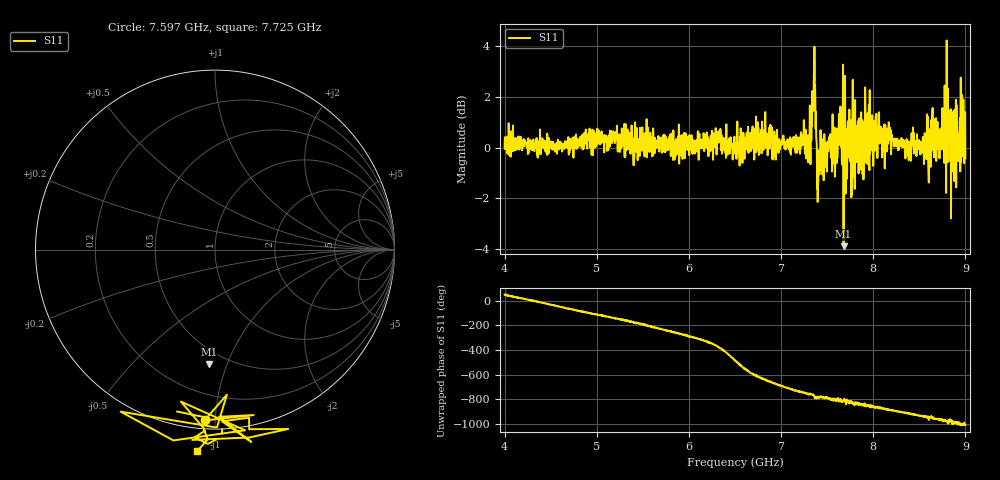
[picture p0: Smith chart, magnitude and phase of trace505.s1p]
! Created with skrf 1.8.0 (http://scikit-rf.org).
# Hz S RI R 50.0
!freq ReS11 ImS11
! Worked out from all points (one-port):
!   1601 points, 4 GHz to 9 GHz, reference 50 ohm
!   lowest |S11| = -3.9 dB at 7.678 GHz (marker M1), VSWR 4.54, Z = 20.1 - j43.2 ohm
!   |S11| at or under -10 dB: nowhere
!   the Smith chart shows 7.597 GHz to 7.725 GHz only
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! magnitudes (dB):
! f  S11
! 4 GHz  0.0
! 4.625 GHz  -0.2
! 5.25 GHz  -0.2
! 5.875 GHz  0.0
! 6.328 GHz  0.7
! 6.5 GHz  -0.2
! 6.806 GHz  0.2
! 7.125 GHz  0.4
! 7.294 GHz  -0.6
! 7.347 GHz  1.9
! 7.362 GHz  4.0
! 7.4 GHz  -1.0
! 7.412 GHz  -0.8
! 7.512 GHz  -0.1
! 7.588 GHz  -0.6
! 7.65 GHz  0.2
! 7.678 GHz  -3.9
! 7.75 GHz  -0.5
! 7.875 GHz  -0.5
! 7.928 GHz  0.7
! 8.375 GHz  0.0
! 8.603 GHz  -1.4
! 8.656 GHz  1.1
! 8.709 GHz  0.5
! 8.809 GHz  2.3
! 8.869 GHz  -0.5
! 8.972 GHz  0.5
! 9 GHz  -0.4
